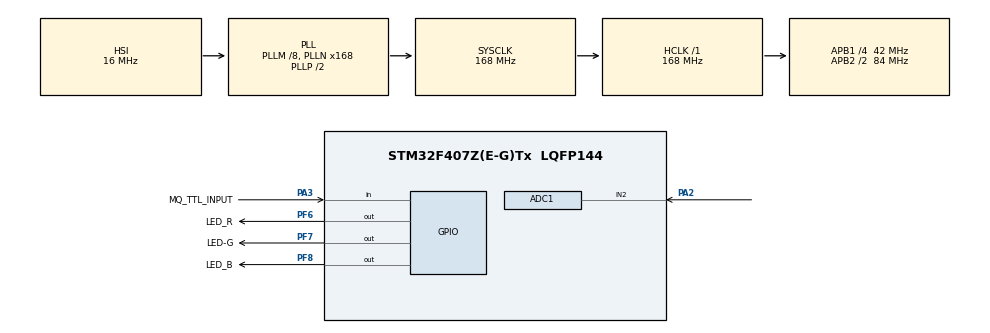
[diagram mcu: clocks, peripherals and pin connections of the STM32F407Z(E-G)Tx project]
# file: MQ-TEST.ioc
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ADC1.Channel-5\#ChannelRegularConversion=ADC_CHANNEL_2
ADC1.ContinuousConvMode=DISABLE
ADC1.NbrOfConversionFlag=1
ADC1.Rank-5\#ChannelRegularConversion=1
ADC1.SamplingTime-5\#ChannelRegularConversion=ADC_SAMPLETIME_3CYCLES
ADC1.ScanConvMode=DISABLE
ADC1.master=1
Mcu.Family=STM32F4
Mcu.Name=STM32F407Z(E-G)Tx
Mcu.Package=LQFP144
NVIC.PriorityGroup=NVIC_PRIORITYGROUP_4
PA2.Signal=ADCx_IN2
PA3.GPIO_Label=MQ_TTL_INPUT
PA3.Signal=GPIO_Input
PF6.GPIO_Label=LED_R
PF6.Signal=GPIO_Output
PF7.GPIO_Label=LED-G
PF7.Signal=GPIO_Output
PF8.GPIO_Label=LED_B
PF8.Signal=GPIO_Output
PH0-OSC_IN.Mode=HSE-External-Oscillator
PH0-OSC_IN.Signal=RCC_OSC_IN
PH1-OSC_OUT.Mode=HSE-External-Oscillator
PH1-OSC_OUT.Signal=RCC_OSC_OUT
ProjectManager.HeapSize=0x200
ProjectManager.StackSize=0x400
ProjectManager.TargetToolchain=Makefile
RCC.48MHZClocksFreq_Value=84000000
RCC.AHBFreq_Value=168000000
RCC.APB1CLKDivider=RCC_HCLK_DIV4
RCC.APB1Freq_Value=42000000
RCC.APB1TimFreq_Value=84000000
RCC.APB2CLKDivider=RCC_HCLK_DIV2
RCC.APB2Freq_Value=84000000
RCC.APB2TimFreq_Value=168000000
RCC.CortexFreq_Value=168000000
RCC.HCLKFreq_Value=168000000
RCC.HSE_VALUE=25000000
RCC.HSI_VALUE=16000000
RCC.LSE_VALUE=32768
RCC.PLLM=8
RCC.PLLN=168
RCC.SYSCLKFreq_VALUE=168000000
RCC.SYSCLKSource=RCC_SYSCLKSOURCE_PLLCLK
RCC.VCOOutputFreq_Value=336000000
SH.ADCx_IN2.0=ADC1_IN2,IN2
board=custom

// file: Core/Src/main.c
/* USER CODE BEGIN Header */
/**
  ******************************************************************************
  * @file           : main.c
  * @brief          : Main program body
  ******************************************************************************
  * @attention
  *
  * <h2><center>&copy; Copyright (c) 2020 STMicroelectronics.
  * All rights reserved.</center></h2>
  *
  * This software component is licensed by ST under BSD 3-Clause license,
  * the "License"; You may not use this file except in compliance with the
  * License. You may obtain a copy of the License at:
  *                        opensource.org/licenses/BSD-3-Clause
  *
  ******************************************************************************
  */
/* USER CODE END Header */
#include "main.h"

/* USER CODE BEGIN Includes */
#include "log.h"
/* USER CODE END Includes */

ADC_HandleTypeDef hadc1;

void SystemClock_Config(void);
static void MX_GPIO_Init(void);
static void MX_ADC1_Init(void);
/* USER CODE BEGIN PFP */
uint32_t ADC_Get_Average(uint8_t ch,uint8_t times)
{
	ADC_ChannelConfTypeDef sConfig;		//通道初始化
	uint32_t value_sum=0;
	uint8_t i;
	switch(ch)							//选择ADC通道
	{
		case 1:sConfig.Channel = ADC_CHANNEL_1;break;
		case 2:sConfig.Channel = ADC_CHANNEL_2;break;
		case 3:sConfig.Channel = ADC_CHANNEL_3;break;
		case 4:sConfig.Channel = ADC_CHANNEL_4;break;
		case 5:sConfig.Channel = ADC_CHANNEL_5;break;
		case 6:sConfig.Channel = ADC_CHANNEL_6;break;
	}
	sConfig.SamplingTime = ADC_SAMPLETIME_112CYCLES;		//采用周期239.5周期
	sConfig.Rank = 1;
	HAL_ADC_ConfigChannel(&hadc1,&sConfig);
	for(i=0;i<times;i++)
	{
		HAL_ADC_Start(&hadc1);								//启动转换
		HAL_ADC_PollForConversion(&hadc1,30);				//等待转化结束
		value_sum += HAL_ADC_GetValue(&hadc1);				//求和
		HAL_ADC_Stop(&hadc1);								//停止转换
	}
	return value_sum/times;									//返回平均值
}
/* USER CODE END PFP */

/* USER CODE BEGIN 0 */
uint16_t MQ_Analog_Value = 0;
/* USER CODE END 0 */

int main(void)
{

  /* MCU Configuration--------------------------------------------------------*/

  /* Reset of all peripherals, Initializes the Flash interface and the Systick. */
  HAL_Init();

  /* Configure the system clock */
  SystemClock_Config();

  /* Initialize all configured peripherals */
  MX_GPIO_Init();
  MX_ADC1_Init();

  /* Infinite loop */
  /* USER CODE BEGIN WHILE */
  while (1)
  {
    MQ_Analog_Value = ADC_Get_Average(2,1);
    LOGI("%d",MQ_Analog_Value);
    /* USER CODE END WHILE */

  }
}

void SystemClock_Config(void)
{
  RCC_OscInitTypeDef RCC_OscInitStruct = {0};
  RCC_ClkInitTypeDef RCC_ClkInitStruct = {0};

  /** Configure the main internal regulator output voltage
  */
  __HAL_RCC_PWR_CLK_ENABLE();
  __HAL_PWR_VOLTAGESCALING_CONFIG(PWR_REGULATOR_VOLTAGE_SCALE1);
  /** Initializes the RCC Oscillators according to the specified parameters
  * in the RCC_OscInitTypeDef structure.
  */
  RCC_OscInitStruct.OscillatorType = RCC_OSCILLATORTYPE_HSI;
  RCC_OscInitStruct.HSIState = RCC_HSI_ON;
  RCC_OscInitStruct.HSICalibrationValue = RCC_HSICALIBRATION_DEFAULT;
  RCC_OscInitStruct.PLL.PLLState = RCC_PLL_ON;
  RCC_OscInitStruct.PLL.PLLSource = RCC_PLLSOURCE_HSI;
  RCC_OscInitStruct.PLL.PLLM = 8;
  RCC_OscInitStruct.PLL.PLLN = 168;
  RCC_OscInitStruct.PLL.PLLP = RCC_PLLP_DIV2;
  RCC_OscInitStruct.PLL.PLLQ = 4;
  if (HAL_RCC_OscConfig(&RCC_OscInitStruct) != HAL_OK)
  {
    Error_Handler();
  }
  /** Initializes the CPU, AHB and APB buses clocks
  */
  RCC_ClkInitStruct.ClockType = RCC_CLOCKTYPE_HCLK|RCC_CLOCKTYPE_SYSCLK
                              |RCC_CLOCKTYPE_PCLK1|RCC_CLOCKTYPE_PCLK2;
  RCC_ClkInitStruct.SYSCLKSource = RCC_SYSCLKSOURCE_PLLCLK;
  RCC_ClkInitStruct.AHBCLKDivider = RCC_SYSCLK_DIV1;
  RCC_ClkInitStruct.APB1CLKDivider = RCC_HCLK_DIV4;
  RCC_ClkInitStruct.APB2CLKDivider = RCC_HCLK_DIV2;

  if (HAL_RCC_ClockConfig(&RCC_ClkInitStruct, FLASH_LATENCY_5) != HAL_OK)
  {
    Error_Handler();
  }
}

static void MX_ADC1_Init(void)
{

  ADC_ChannelConfTypeDef sConfig = {0};

  /** Configure the global features of the ADC (Clock, Resolution, Data Alignment and number of conversion)
  */
  hadc1.Instance = ADC1;
  hadc1.Init.ClockPrescaler = ADC_CLOCK_SYNC_PCLK_DIV4;
  hadc1.Init.Resolution = ADC_RESOLUTION_12B;
  hadc1.Init.ScanConvMode = DISABLE;
  hadc1.Init.ContinuousConvMode = DISABLE;
  hadc1.Init.DiscontinuousConvMode = DISABLE;
  hadc1.Init.ExternalTrigConvEdge = ADC_EXTERNALTRIGCONVEDGE_NONE;
  hadc1.Init.ExternalTrigConv = ADC_SOFTWARE_START;
  hadc1.Init.DataAlign = ADC_DATAALIGN_RIGHT;
  hadc1.Init.NbrOfConversion = 1;
  hadc1.Init.DMAContinuousRequests = DISABLE;
  hadc1.Init.EOCSelection = ADC_EOC_SINGLE_CONV;
  if (HAL_ADC_Init(&hadc1) != HAL_OK)
  {
    Error_Handler();
  }
  /** Configure for the selected ADC regular channel its corresponding rank in the sequencer and its sample time.
  */
  sConfig.Channel = ADC_CHANNEL_2;
  sConfig.Rank = 1;
  sConfig.SamplingTime = ADC_SAMPLETIME_3CYCLES;
  if (HAL_ADC_ConfigChannel(&hadc1, &sConfig) != HAL_OK)
  {
    Error_Handler();
  }

}

static void MX_GPIO_Init(void)
{
  GPIO_InitTypeDef GPIO_InitStruct = {0};

  /* GPIO Ports Clock Enable */
  __HAL_RCC_GPIOF_CLK_ENABLE();
  __HAL_RCC_GPIOH_CLK_ENABLE();
  __HAL_RCC_GPIOA_CLK_ENABLE();

  /*Configure GPIO pin Output Level */
  HAL_GPIO_WritePin(GPIOF, LED_R_Pin|LED_G_Pin|LED_B_Pin, GPIO_PIN_RESET);

  /*Configure GPIO pins : LED_R_Pin LED_G_Pin LED_B_Pin */
  GPIO_InitStruct.Pin = LED_R_Pin|LED_G_Pin|LED_B_Pin;
  GPIO_InitStruct.Mode = GPIO_MODE_OUTPUT_PP;
  GPIO_InitStruct.Pull = GPIO_NOPULL;
  GPIO_InitStruct.Speed = GPIO_SPEED_FREQ_LOW;
  HAL_GPIO_Init(GPIOF, &GPIO_InitStruct);

  /*Configure GPIO pin : MQ_TTL_INPUT_Pin */
  GPIO_InitStruct.Pin = MQ_TTL_INPUT_Pin;
  GPIO_InitStruct.Mode = GPIO_MODE_INPUT;
  GPIO_InitStruct.Pull = GPIO_NOPULL;
  HAL_GPIO_Init(MQ_TTL_INPUT_GPIO_Port, &GPIO_InitStruct);

}

void Error_Handler(void)
{
}

/************************ (C) COPYRIGHT STMicroelectronics *****END OF FILE****/
